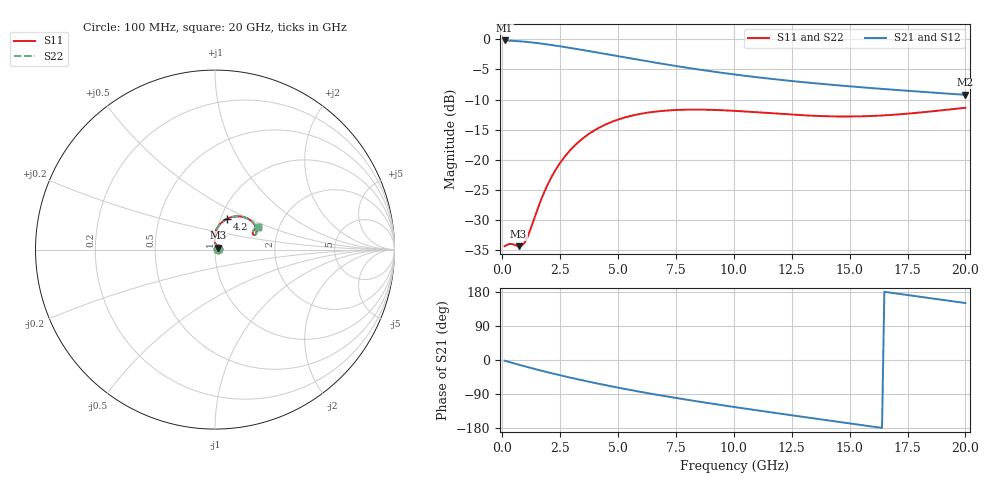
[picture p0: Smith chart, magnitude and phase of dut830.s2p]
! Touchstone file exported from HFSS 2024.1.0
!  File:  C:/UserFiles/LocalFiles/RDL_TSV_Batchsim/temp_RDL_TSV_830_1779917833.aedt
!  Generated:  05:51:46 AM May 28, 2026
!  Design:  RDL_TSV
!  Project:  temp_RDL_TSV_830_1779917833
!  Setup:  Setup1
!  Solution:  Sweep
! Variables:
!  dtsv = 9.64um
!  hbump = 3um
!  htsv = 75.63um
!  ldown = 616.15um
!  lrdl = 291.24um
!  p = 40
!  p1 = 42.58um
!  rhole = 10um
!  subl = 3013.41um
!  t = 450um
!  tdown = 2.89um
!  trdl = 4.14um
!  viad = 10um
!  wdown = 15.73um
!  wrdl = 24.48um
!  xbump = 18um
# GHz S MA R 50.000000
! Terminal data exported
! Port[1] = TM1_1_T1
! Port[2] = TM1_4_T1
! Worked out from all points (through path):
!   200 points, 100 MHz to 20 GHz, reference 50 ohm
!   highest |S21| = -0.17 dB at 100 MHz (marker M1); lowest = -9.2 dB at 20 GHz (marker M2)
!   group delay of S21, straight-line fit = 27.5 ps
!   lowest |S11| = -34.4 dB at 700 MHz (marker M3), VSWR 1.04, Z = 51.6 + j1.16 ohm
!   |S11| at or under -10 dB: start of sweep to end of sweep
!   |S22| runs from -34.4 to -11.4 dB; largest |S21 - S12| = 1e-14
!   S11 on the Smith chart (normalised r, x): 100 MHz: 1.04, +0.00; 4.2 GHz: 1.08, +0.38; 20 GHz: 1.56, +0.42
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0.1  0.01908 6.1  0.9806 -1.8  0.9806 -1.8  0.01908 6.1
! Gamma 0 0 0 0
! Port Impedance 50 0 50 0
0.4  0.01991 19.4  0.9753 -7.1  0.9753 -7.1  0.01991 19.4
0.7  0.01908 36.1  0.9671 -12.2  0.9671 -12.2  0.01908 36.0
0.9  0.01971 52.8  0.9601 -15.5  0.9601 -15.5  0.0197 52.8
1  0.02099 61.6  0.9562 -17.2  0.9562 -17.2  0.02098 61.6
1.2  0.02584 76.4  0.9476 -20.4  0.9476 -20.4  0.02582 76.4
1.6  0.04256 90.6  0.928 -26.8  0.928 -26.8  0.04254 90.6
1.8  0.05305 92.5  0.9172 -29.9  0.9172 -29.9  0.05304 92.6
2.3  0.08206 91.1  0.8884 -37.4  0.8884 -37.4  0.08206 91.1
2.9  0.1179 84.7  0.8521 -46.0  0.8521 -46.0  0.118 84.8
3.5  0.1515 77.1  0.8153 -54.2  0.8153 -54.2  0.1515 77.1
4.2  0.1853 68.2  0.7728 -63.2  0.7728 -63.2  0.1853 68.3
5.4  0.2273 54.6  0.7037 -77.7  0.7037 -77.7  0.2274 54.6
6.8  0.2532 41.8  0.6324 -93.0  0.6324 -93.0  0.2533 41.9
8.4  0.2609 31.2  0.5652 -109.0  0.5652 -109.0  0.261 31.2
10.1  0.2543 24.0  0.5091 -124.8  0.5091 -124.8  0.2544 24.0
11.7  0.2427 20.7  0.4681 -139.0  0.4681 -139.0  0.2428 20.8
13.4  0.2319 20.6  0.4337 -153.7  0.4337 -153.7  0.2321 20.7
15  0.2286 22.6  0.4074 -167.3  0.4074 -167.3  0.2288 22.7
16.7  0.2349 25.5  0.3839 178.2  0.3839 178.2  0.2351 25.6
18.3  0.2494 27.4  0.3646 164.7  0.3646 164.7  0.2497 27.5
20  0.2703 27.7  0.3462 150.3  0.3462 150.3  0.2705 27.8
